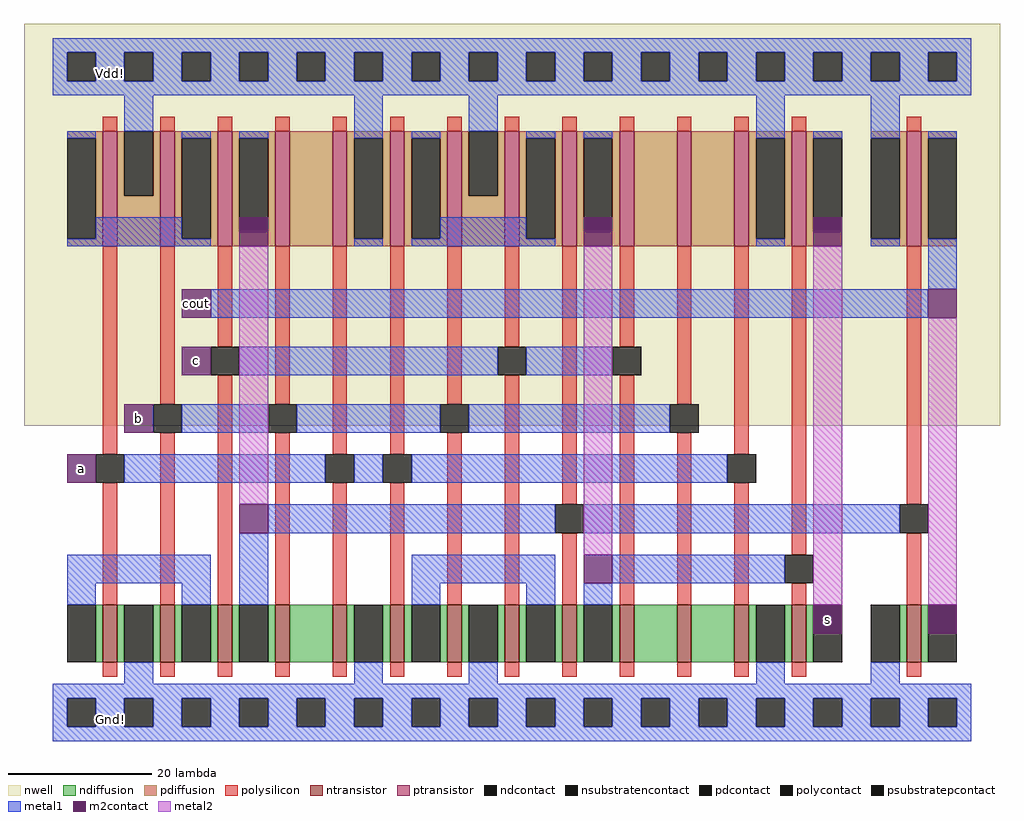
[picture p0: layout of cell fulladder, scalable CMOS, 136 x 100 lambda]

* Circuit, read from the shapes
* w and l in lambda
.subckt fulladder Gnd! Vdd! a b c cout s
M1 Gnd! a n1 Gnd! nfet w=8 l=2
M2 n1 b Gnd! Gnd! nfet w=8 l=2
M3 n2 c n1 Gnd! nfet w=8 l=2
M4 n3 b n2 Gnd! nfet w=8 l=2
M5 Gnd! a n3 Gnd! nfet w=8 l=2
M6 n4 a Gnd! Gnd! nfet w=8 l=2
M7 Gnd! b n4 Gnd! nfet w=8 l=2
M8 n4 c Gnd! Gnd! nfet w=8 l=2
M9 n5 n2 n4 Gnd! nfet w=8 l=2
M10 n6 c n5 Gnd! nfet w=8 l=2
M11 n7 b n6 Gnd! nfet w=8 l=2
M12 Gnd! a n7 Gnd! nfet w=8 l=2
M13 s n5 Gnd! Gnd! nfet w=8 l=2
M14 cout n2 Gnd! Gnd! nfet w=8 l=2
M15 Vdd! a n8 Vdd! pfet w=16 l=2
M16 n8 b Vdd! Vdd! pfet w=16 l=2
M17 n2 c n8 Vdd! pfet w=16 l=2
M18 n9 b n2 Vdd! pfet w=16 l=2
M19 Vdd! a n9 Vdd! pfet w=16 l=2
M20 n10 a Vdd! Vdd! pfet w=16 l=2
M21 Vdd! b n10 Vdd! pfet w=16 l=2
M22 n10 c Vdd! Vdd! pfet w=16 l=2
M23 n5 n2 n10 Vdd! pfet w=16 l=2
M24 n11 c n5 Vdd! pfet w=16 l=2
M25 n12 b n11 Vdd! pfet w=16 l=2
M26 Vdd! a n12 Vdd! pfet w=16 l=2
M27 s n5 Vdd! Vdd! pfet w=16 l=2
M28 cout n2 Vdd! Vdd! pfet w=16 l=2
.ends

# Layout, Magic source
magic
tech scmos
<< nwell >>
rect -8 40 128 96
<< ntransistor >>
rect 3 7 5 15
rect 11 7 13 15
rect 19 7 21 15
rect 27 7 29 15
rect 35 7 37 15
rect 43 7 45 15
rect 51 7 53 15
rect 59 7 61 15
rect 67 7 69 15
rect 75 7 77 15
rect 83 7 85 15
rect 91 7 93 15
rect 99 7 101 15
rect 115 7 117 15
<< ptransistor >>
rect 3 65 5 81
rect 11 65 13 81
rect 19 65 21 81
rect 27 65 29 81
rect 35 65 37 81
rect 43 65 45 81
rect 51 65 53 81
rect 59 65 61 81
rect 67 65 69 81
rect 75 65 77 81
rect 83 65 85 81
rect 91 65 93 81
rect 99 65 101 81
rect 115 65 117 81
<< ndiffusion >>
rect 2 7 3 15
rect 5 7 6 15
rect 10 7 11 15
rect 13 7 14 15
rect 18 7 19 15
rect 21 7 22 15
rect 26 7 27 15
rect 29 7 35 15
rect 37 7 38 15
rect 42 7 43 15
rect 45 7 46 15
rect 50 7 51 15
rect 53 7 54 15
rect 58 7 59 15
rect 61 7 62 15
rect 66 7 67 15
rect 69 7 70 15
rect 74 7 75 15
rect 77 7 83 15
rect 85 7 91 15
rect 93 7 94 15
rect 98 7 99 15
rect 101 7 102 15
rect 114 7 115 15
rect 117 7 118 15
<< pdiffusion >>
rect -2 80 3 81
rect 2 66 3 80
rect -2 65 3 66
rect 5 72 6 81
rect 10 72 11 81
rect 5 65 11 72
rect 13 80 19 81
rect 13 66 14 80
rect 18 66 19 80
rect 13 65 19 66
rect 21 80 27 81
rect 21 67 22 80
rect 26 67 27 80
rect 21 65 27 67
rect 29 65 35 81
rect 37 80 43 81
rect 37 66 38 80
rect 42 66 43 80
rect 37 65 43 66
rect 45 80 51 81
rect 45 66 46 80
rect 50 66 51 80
rect 45 65 51 66
rect 53 72 54 81
rect 58 72 59 81
rect 53 65 59 72
rect 61 80 67 81
rect 61 66 62 80
rect 66 66 67 80
rect 61 65 67 66
rect 69 80 75 81
rect 69 67 70 80
rect 74 67 75 80
rect 69 65 75 67
rect 77 65 83 81
rect 85 65 91 81
rect 93 80 99 81
rect 93 66 94 80
rect 98 66 99 80
rect 93 65 99 66
rect 101 80 106 81
rect 101 67 102 80
rect 101 65 106 67
rect 110 80 115 81
rect 114 66 115 80
rect 110 65 115 66
rect 117 80 122 81
rect 117 66 118 80
rect 117 65 122 66
<< ndcontact >>
rect -2 7 2 15
rect 6 7 10 15
rect 14 7 18 15
rect 22 7 26 15
rect 38 7 42 15
rect 46 7 50 15
rect 54 7 58 15
rect 62 7 66 15
rect 70 7 74 15
rect 94 7 98 15
rect 102 7 106 15
rect 110 7 114 15
rect 118 7 122 15
<< pdcontact >>
rect -2 66 2 80
rect 6 72 10 81
rect 14 66 18 80
rect 22 67 26 80
rect 38 66 42 80
rect 46 66 50 80
rect 54 72 58 81
rect 62 66 66 80
rect 70 67 74 80
rect 94 66 98 80
rect 102 67 106 80
rect 110 66 114 80
rect 118 66 122 80
<< psubstratepcontact >>
rect -2 -2 2 2
rect 6 -2 10 2
rect 14 -2 18 2
rect 22 -2 26 2
rect 30 -2 34 2
rect 38 -2 42 2
rect 46 -2 50 2
rect 54 -2 58 2
rect 62 -2 66 2
rect 70 -2 74 2
rect 78 -2 82 2
rect 86 -2 90 2
rect 94 -2 98 2
rect 102 -2 106 2
rect 110 -2 114 2
rect 118 -2 122 2
<< nsubstratencontact >>
rect -2 88 2 92
rect 6 88 10 92
rect 14 88 18 92
rect 22 88 26 92
rect 30 88 34 92
rect 38 88 42 92
rect 46 88 50 92
rect 54 88 58 92
rect 62 88 66 92
rect 70 88 74 92
rect 78 88 82 92
rect 86 88 90 92
rect 94 88 98 92
rect 102 88 106 92
rect 110 88 114 92
rect 118 88 122 92
<< polysilicon >>
rect 3 81 5 83
rect 11 81 13 83
rect 19 81 21 83
rect 27 81 29 83
rect 35 81 37 83
rect 43 81 45 83
rect 51 81 53 83
rect 59 81 61 83
rect 67 81 69 83
rect 75 81 77 83
rect 83 81 85 83
rect 91 81 93 83
rect 99 81 101 83
rect 115 81 117 83
rect 3 36 5 65
rect 11 43 13 65
rect 19 51 21 65
rect 3 15 5 32
rect 11 15 13 39
rect 19 15 21 47
rect 27 43 29 65
rect 27 15 29 39
rect 35 36 37 65
rect 43 36 45 65
rect 51 43 53 65
rect 59 51 61 65
rect 35 15 37 32
rect 43 15 45 32
rect 51 15 53 39
rect 59 15 61 47
rect 67 29 69 65
rect 75 51 77 65
rect 67 15 69 25
rect 75 15 77 47
rect 83 43 85 65
rect 83 15 85 39
rect 91 36 93 65
rect 91 15 93 32
rect 99 22 101 65
rect 115 29 117 65
rect 99 15 101 18
rect 115 15 117 25
rect 3 5 5 7
rect 11 5 13 7
rect 19 5 21 7
rect 27 5 29 7
rect 35 5 37 7
rect 43 5 45 7
rect 51 5 53 7
rect 59 5 61 7
rect 67 5 69 7
rect 75 5 77 7
rect 83 5 85 7
rect 91 5 93 7
rect 99 5 101 7
rect 115 5 117 7
<< polycontact >>
rect 18 47 22 51
rect 10 39 14 43
rect 2 32 6 36
rect 26 39 30 43
rect 58 47 62 51
rect 50 39 54 43
rect 34 32 38 36
rect 42 32 46 36
rect 74 47 78 51
rect 66 25 70 29
rect 82 39 86 43
rect 90 32 94 36
rect 114 25 118 29
rect 98 18 102 22
<< metal1 >>
rect -4 92 124 94
rect -4 88 -2 92
rect 2 88 6 92
rect 10 88 14 92
rect 18 88 22 92
rect 26 88 30 92
rect 34 88 38 92
rect 42 88 46 92
rect 50 88 54 92
rect 58 88 62 92
rect 66 88 70 92
rect 74 88 78 92
rect 82 88 86 92
rect 90 88 94 92
rect 98 88 102 92
rect 106 88 110 92
rect 114 88 118 92
rect 122 88 124 92
rect -4 86 124 88
rect 6 81 10 86
rect -2 80 2 81
rect 14 80 18 81
rect 2 66 14 69
rect -2 65 18 66
rect 22 80 26 81
rect 38 80 42 86
rect 54 81 58 86
rect 38 65 42 66
rect 46 80 50 81
rect 62 80 66 81
rect 50 66 62 69
rect 46 65 66 66
rect 70 80 74 81
rect 94 80 98 86
rect 94 65 98 66
rect 102 80 106 81
rect 110 80 114 86
rect 110 65 114 66
rect 118 80 122 81
rect 118 59 122 66
rect 18 55 118 59
rect 22 47 58 51
rect 62 47 74 51
rect 14 39 26 43
rect 30 39 50 43
rect 54 39 82 43
rect 6 32 34 36
rect 38 32 42 36
rect 46 32 90 36
rect 26 25 66 29
rect 70 25 114 29
rect -2 18 18 22
rect -2 15 2 18
rect 14 15 18 18
rect 22 15 26 25
rect 46 18 66 22
rect 46 15 50 18
rect 62 15 66 18
rect 74 18 98 22
rect 70 15 74 18
rect 6 4 10 7
rect 38 4 42 7
rect 54 4 58 7
rect 94 4 98 7
rect 110 4 114 7
rect -4 2 124 4
rect -4 -2 -2 2
rect 2 -2 6 2
rect 10 -2 14 2
rect 18 -2 22 2
rect 26 -2 30 2
rect 34 -2 38 2
rect 42 -2 46 2
rect 50 -2 54 2
rect 58 -2 62 2
rect 66 -2 70 2
rect 74 -2 78 2
rect 82 -2 86 2
rect 90 -2 94 2
rect 98 -2 102 2
rect 106 -2 110 2
rect 114 -2 118 2
rect 122 -2 124 2
rect -4 -4 124 -2
<< m2contact >>
rect 22 67 26 69
rect 22 65 26 67
rect 70 67 74 69
rect 70 65 74 67
rect 102 67 106 69
rect 102 65 106 67
rect 14 55 18 59
rect 118 55 122 59
rect 14 47 18 51
rect 6 39 10 43
rect -2 32 2 36
rect 22 25 26 29
rect 70 18 74 22
rect 102 11 106 15
rect 118 11 122 15
<< metal2 >>
rect 22 29 26 65
rect 70 22 74 65
rect 102 15 106 65
rect 118 15 122 55
<< labels >>
rlabel m2contact 0 34 0 34 1 a
rlabel m2contact 8 41 8 41 1 b
rlabel m2contact 16 49 16 49 1 c
rlabel m2contact 16 57 16 57 1 cout
rlabel m2contact 104 13 104 13 1 s
rlabel metal1 4 89 4 89 1 Vdd!
rlabel metal1 4 -1 4 -1 1 Gnd!
<< end >>
